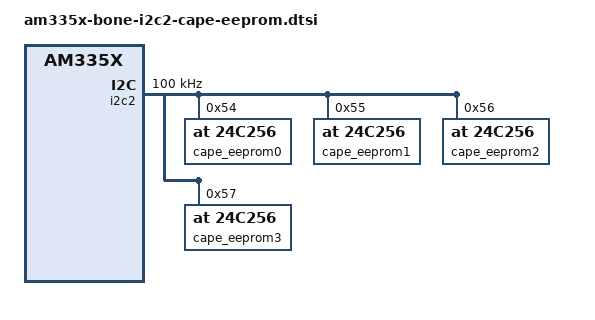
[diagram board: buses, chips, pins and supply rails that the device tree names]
/*
 * Copyright (C) 2012 Texas Instruments Incorporated - http://www.ti.com/
 *
 * This program is free software; you can redistribute it and/or modify
 * it under the terms of the GNU General Public License version 2 as
 * published by the Free Software Foundation.
 */

&ocp {
	/* i2c2 */
	P9_19_pinmux {
		mode = "i2c";
	};
	P9_20_pinmux {
		mode = "i2c";
	};
};

&i2c2 {
	status = "okay";
	pinctrl-names = "default";
	pinctrl-0 = <>; /* pinctrl-0 = <&i2c2_pins>; */

	clock-frequency = <100000>;

	cape_eeprom0: cape_eeprom0@54 {
		compatible = "at,24c256";
		reg = <0x54>;
	};

	cape_eeprom1: cape_eeprom1@55 {
		compatible = "at,24c256";
		reg = <0x55>;
	};

	cape_eeprom2: cape_eeprom2@56 {
		compatible = "at,24c256";
		reg = <0x56>;
	};

	cape_eeprom3: cape_eeprom3@57 {
		compatible = "at,24c256";
		reg = <0x57>;
	};
};
